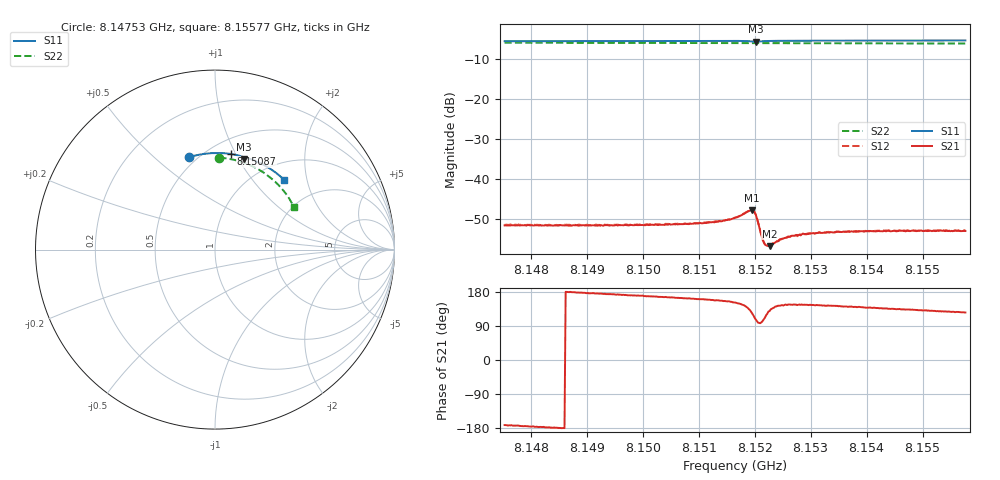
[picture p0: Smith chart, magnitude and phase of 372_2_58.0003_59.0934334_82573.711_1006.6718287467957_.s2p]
#  HZ  S  RI  R  50.00
! Rohde & Schwarz Vector Network Analyzer
! Rohde-Schwarz,ZNB20-2Port,1311601062101988,3.16
! Created: UTC 3/21/2024, 1:06:58 AM
! freq[Hz]  re:S11  im:S11  re:S21  im:S21  re:S12  im:S12  re:S22  im:S22
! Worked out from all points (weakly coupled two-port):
!   401 points, 8.14753 GHz to 8.15577 GHz, reference 50 ohm
!   highest |S21| = -47.82 dB at 8.15196 GHz (marker M1); lowest = -56.8 dB at 8.15227 GHz (marker M2)
!   lowest |S11| = -5.5 dB at 8.15202 GHz (marker M3), VSWR 3.25, Z = 37.5 + j52.6 ohm
!   |S11| at or under -10 dB: nowhere
!   |S22| runs from -6.0 to -5.8 dB; largest |S21 - S12| = 0.00012
!   S11 on the Smith chart (normalised r, x): 8.14753 GHz: 0.45, +0.66; 8.15087 GHz: 0.63, +0.95; 8.15577 GHz: 1.32, +1.47
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8.147532e9  -0.1427 0.5151  -0.00259 -0.000379  -0.00266 -0.000321  0.024 0.5122
8.148911e9  -0.0485 0.5347  -0.00262 9.83e-05  -0.00266 0.000134  0.1127 0.4986
8.15029e9  0.0473 0.5373  -0.00259 0.000632  -0.00262 0.000649  0.1967 0.4696
8.150867e9  0.0874 0.5332  -0.00261 0.000858  -0.00265 0.000899  0.23 0.4534
8.151381e9  0.1234 0.5266  -0.00272 0.00118  -0.00272 0.00124  0.2584 0.4369
8.151649e9  0.1427 0.5213  -0.00287 0.00156  -0.00289 0.00158  0.2728 0.4278
8.151896e9  0.1602 0.5114  -0.00277 0.00284  -0.00279 0.00289  0.2856 0.4184
8.151958e9  0.162 0.5068  -0.00218 0.00343  -0.00217 0.00346  0.2886 0.4158
8.151999e9  0.1612 0.5047  -0.00141 0.00354  -0.00141 0.00356  0.2906 0.4144
8.152019e9  0.1607 0.5047  -0.00103 0.00343  -0.001 0.00346  0.2917 0.4136
8.15206e9  0.1601 0.5059  -0.000434 0.00284  -0.000413 0.00287  0.2934 0.4123
8.152122e9  0.1628 0.509  -0.000324 0.00191  -0.000291 0.00195  0.2967 0.41
8.152163e9  0.1659 0.5102  -0.000482 0.00153  -0.000443 0.00156  0.2989 0.4086
8.152205e9  0.1692 0.5107  -0.000693 0.0013  -0.000662 0.00129  0.301 0.4071
8.152266e9  0.1745 0.5107  -0.000911 0.00112  -0.000949 0.00116  0.3041 0.4046
8.152493e9  0.1917 0.5068  -0.00145 0.00103  -0.00142 0.00108  0.3152 0.3955
8.152554e9  0.196 0.5055  -0.00152 0.00101  -0.0015 0.00107  0.3183 0.3932
8.152719e9  0.2073 0.5014  -0.00161 0.00109  -0.00162 0.00113  0.3262 0.3862
8.153028e9  0.2275 0.4934  -0.00171 0.00119  -0.00171 0.0012  0.3405 0.373
8.153193e9  0.2381 0.4887  -0.00171 0.00123  -0.00173 0.0013  0.3481 0.3657
8.154407e9  0.3115 0.4478  -0.00159 0.00157  -0.0016 0.0016  0.3975 0.3077
8.155765e9  0.3846 0.3893  -0.00129 0.00182  -0.00131 0.00183  0.4414 0.2354
